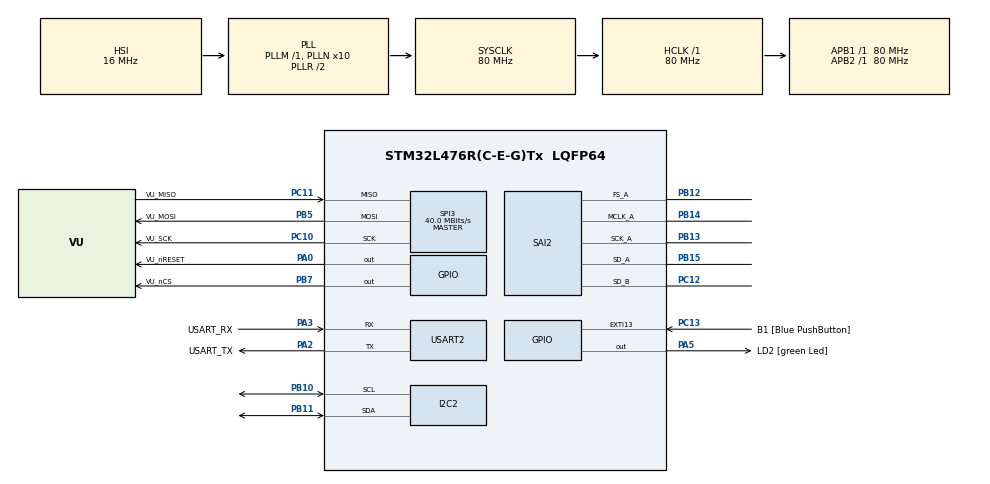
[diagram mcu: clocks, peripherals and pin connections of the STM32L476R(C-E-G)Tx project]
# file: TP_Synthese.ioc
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Dma.Request0=SAI2_A
Dma.Request1=SAI2_B
Dma.SAI2_A.0.Direction=DMA_MEMORY_TO_PERIPH
Dma.SAI2_A.0.Instance=DMA1_Channel6
Dma.SAI2_A.0.MemDataAlignment=DMA_MDATAALIGN_WORD
Dma.SAI2_A.0.MemInc=DMA_MINC_ENABLE
Dma.SAI2_A.0.Mode=DMA_CIRCULAR
Dma.SAI2_A.0.PeriphDataAlignment=DMA_PDATAALIGN_WORD
Dma.SAI2_A.0.PeriphInc=DMA_PINC_DISABLE
Dma.SAI2_A.0.Priority=DMA_PRIORITY_LOW
Dma.SAI2_B.1.Direction=DMA_PERIPH_TO_MEMORY
Dma.SAI2_B.1.Instance=DMA1_Channel7
Dma.SAI2_B.1.MemDataAlignment=DMA_MDATAALIGN_WORD
Dma.SAI2_B.1.MemInc=DMA_MINC_ENABLE
Dma.SAI2_B.1.Mode=DMA_CIRCULAR
Dma.SAI2_B.1.PeriphDataAlignment=DMA_PDATAALIGN_WORD
Dma.SAI2_B.1.PeriphInc=DMA_PINC_DISABLE
Dma.SAI2_B.1.Priority=DMA_PRIORITY_LOW
FREERTOS.Tasks01=defaultTask,0,128,StartDefaultTask,Default,NULL,Dynamic,NULL,NULL
FREERTOS.configTOTAL_HEAP_SIZE=20000
FREERTOS.configUSE_NEWLIB_REENTRANT=1
I2C2.Timing=0x10D19CE4
Mcu.Family=STM32L4
Mcu.Name=STM32L476R(C-E-G)Tx
Mcu.Package=LQFP64
NVIC.DMA1_Channel6_IRQn=true\:5\:0\:false\:false\:true\:true\:false\:true\:true
NVIC.DMA1_Channel7_IRQn=true\:5\:0\:false\:false\:true\:true\:false\:true\:true
NVIC.PriorityGroup=NVIC_PRIORITYGROUP_4
NVIC.SAI2_IRQn=true\:5\:0\:false\:false\:true\:true\:true\:true\:true
NVIC.TIM6_DAC_IRQn=true\:15\:0\:false\:false\:true\:false\:false\:true\:true
NVIC.TimeBase=TIM6_DAC_IRQn
NVIC.TimeBaseIP=TIM6
NVIC.USART2_IRQn=true\:5\:0\:false\:false\:true\:true\:true\:true\:true
PA0.GPIO_Label=VU_nRESET
PA0.PinState=GPIO_PIN_SET
PA0.Signal=GPIO_Output
PA13\ (JTMS-SWDIO).GPIO_Label=TMS
PA13\ (JTMS-SWDIO).Signal=SYS_JTMS-SWDIO
PA14\ (JTCK-SWCLK).GPIO_Label=TCK
PA14\ (JTCK-SWCLK).Signal=SYS_JTCK-SWCLK
PA2.GPIO_Label=USART_TX
PA2.GPIO_Mode=GPIO_MODE_AF_PP
PA2.GPIO_PuPd=GPIO_NOPULL
PA2.GPIO_Speed=GPIO_SPEED_FREQ_VERY_HIGH
PA2.Mode=Asynchronous
PA2.Signal=USART2_TX
PA3.GPIO_Label=USART_RX
PA3.GPIO_Mode=GPIO_MODE_AF_PP
PA3.GPIO_PuPd=GPIO_NOPULL
PA3.GPIO_Speed=GPIO_SPEED_FREQ_VERY_HIGH
PA3.Mode=Asynchronous
PA3.Signal=USART2_RX
PA5.GPIO_Label=LD2 [green Led]
PA5.GPIO_ModeDefaultOutputPP=GPIO_MODE_OUTPUT_PP
PA5.GPIO_PuPd=GPIO_NOPULL
PA5.GPIO_Speed=GPIO_SPEED_FREQ_LOW
PA5.Signal=GPIO_Output
PB10.Mode=I2C
PB10.Signal=I2C2_SCL
PB11.Mode=I2C
PB11.Signal=I2C2_SDA
PB12.Mode=SAI_A_MasterWithClock
PB12.Signal=SAI2_FS_A
PB13.Mode=SAI_A_MasterWithClock
PB13.Signal=SAI2_SCK_A
PB14.Mode=SAI_A_MasterWithClock
PB14.Signal=SAI2_MCLK_A
PB15.Mode=SAI_A_MasterWithClock
PB15.Signal=SAI2_SD_A
PB3\ (JTDO-TRACESWO).GPIO_Label=SWO
PB3\ (JTDO-TRACESWO).Signal=SYS_JTDO-SWO
PB5.GPIO_Label=VU_MOSI
PB5.Mode=Full_Duplex_Master
PB5.Signal=SPI3_MOSI
PB7.GPIO_Label=VU_nCS
PB7.PinState=GPIO_PIN_SET
PB7.Signal=GPIO_Output
PC10.GPIO_Label=VU_SCK
PC10.Mode=Full_Duplex_Master
PC10.Signal=SPI3_SCK
PC11.GPIO_Label=VU_MISO
PC11.Mode=Full_Duplex_Master
PC11.Signal=SPI3_MISO
PC12.Mode=SAI_B_SyncSlave
PC12.Signal=SAI2_SD_B
PC13.GPIO_Label=B1 [Blue PushButton]
PC13.GPIO_ModeDefaultEXTI=GPIO_MODE_IT_FALLING
PC13.GPIO_PuPd=GPIO_NOPULL
PC13.Signal=GPXTI13
PC14-OSC32_IN\ (PC14).Mode=LSE-External-Oscillator
PC14-OSC32_IN\ (PC14).Signal=RCC_OSC32_IN
PC15-OSC32_OUT\ (PC15).Mode=LSE-External-Oscillator
PC15-OSC32_OUT\ (PC15).Signal=RCC_OSC32_OUT
PH0-OSC_IN\ (PH0).Signal=RCC_OSC_IN
PH1-OSC_OUT\ (PH1).Signal=RCC_OSC_OUT
ProjectManager.HeapSize=0x200
ProjectManager.StackSize=0x400
ProjectManager.TargetToolchain=STM32CubeIDE
RCC.ADCFreq_Value=104000000
RCC.AHBFreq_Value=80000000
RCC.APB1Freq_Value=80000000
RCC.APB1TimFreq_Value=80000000
RCC.APB2Freq_Value=80000000
RCC.APB2TimFreq_Value=80000000
RCC.CortexFreq_Value=80000000
RCC.HCLKFreq_Value=80000000
RCC.HSE_VALUE=8000000
RCC.HSI_VALUE=16000000
RCC.MSI_VALUE=4000000
RCC.PLLN=10
RCC.PLLSAI1N=13
RCC.PLLSAI1P=RCC_PLLP_DIV17
RCC.PLLSourceVirtual=RCC_PLLSOURCE_HSI
RCC.PREFETCH_ENABLE=1
RCC.SYSCLKFreq_VALUE=80000000
RCC.SYSCLKSource=RCC_SYSCLKSOURCE_PLLCLK
RCC.USBFreq_Value=104000000
RCC.VCOOutputFreq_Value=160000000
SAI2.AudioFrequency-SAI_A_MasterWithClock=SAI_AUDIO_FREQUENCY_48K
SAI2.ErrorAudioFreq-SAI_A_MasterWithClock=-0.42 %
SAI2.InitProtocol-SAI_A_MasterWithClock=Enable
SAI2.InitProtocol-SAI_B_SyncSlave=Enable
SAI2.Instance-SAI_A_MasterWithClock=SAI$Index_Block_A
SAI2.Instance-SAI_B_SyncSlave=SAI$Index_Block_B
SAI2.MClockEnable-SAI_A_MasterWithClock=SAI_MASTERCLOCK_ENABLE
SAI2.RealAudioFreq-SAI_A_MasterWithClock=47.794 KHz
SAI2.VirtualMode-SAI_A_MasterWithClock=VM_MASTER
SAI2.VirtualMode-SAI_B_SyncSlave=VM_SLAVE
SAI2.VirtualProtocol-SAI_A_BASIC=VM_BASIC_PROTOCOL
SAI2.VirtualProtocol-SAI_B_BASIC=VM_BASIC_PROTOCOL
SPI3.CalculateBaudRate=40.0 MBits/s
SPI3.DataSize=SPI_DATASIZE_8BIT
SPI3.Direction=SPI_DIRECTION_2LINES
SPI3.Mode=SPI_MODE_MASTER
SPI3.VirtualType=VM_MASTER
USART2.VirtualMode-Asynchronous=VM_ASYNC
VP_FREERTOS_VS_CMSIS_V1.Mode=CMSIS_V1
VP_SAI2_VP_$IpInstance_SAIA_SAI_BASIC.Mode=SAI_A_BASIC
VP_SAI2_VP_$IpInstance_SAIB_SAI_BASIC.Mode=SAI_B_BASIC
VP_SYS_VS_tim6.Mode=TIM6
board=NUCLEO-L476RG

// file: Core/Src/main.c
/* USER CODE BEGIN Header */
/**
  ******************************************************************************
  * @file           : main.c
  * @brief          : Main program body
  ******************************************************************************
  * @attention
  *
  * Copyright (c) 2025 STMicroelectronics.
  * All rights reserved.
  *
  * This software is licensed under terms that can be found in the LICENSE file
  * in the root directory of this software component.
  * If no LICENSE file comes with this software, it is provided AS-IS.
  *
  ******************************************************************************
  */
/* USER CODE END Header */
#include "main.h"
#include "cmsis_os.h"
#include "dma.h"
#include "i2c.h"
#include "sai.h"
#include "spi.h"
#include "usart.h"
#include "gpio.h"

/* USER CODE BEGIN Includes */
#include <stdio.h>
#include <string.h>

#include "shell.h"
#include "drv_uart.h"
#include "leds.h"
#include "sgtl5000.h"
/* USER CODE END Includes */

/* USER CODE BEGIN PD */
#define AUDIO_BLOCK_SIZE 24
#define AUDIO_BUFFER_SIZE (AUDIO_BLOCK_SIZE * 4)

// Defines for triangular wave generation
#define SAMPLE_RATE_HZ 48000
#define TRIANGLE_TEST_FREQ_HZ 440
#define TRIANGLE_MAX_AMPLITUDE 15000
#define TRIANGLE_STEP ((2 * TRIANGLE_MAX_AMPLITUDE) / (SAMPLE_RATE_HZ / TRIANGLE_TEST_FREQ_HZ))

/* USER CODE END PD */

/* USER CODE BEGIN PV */
SemaphoreHandle_t uartRxSemaphore;
uint8_t rxCharBuffer;
h_sgtl5000_t sgtl5000_handle;

uint16_t audio_tx_buffer[AUDIO_BUFFER_SIZE];
uint16_t audio_rx_buffer[AUDIO_BUFFER_SIZE];

// Global variables for triangle wave generation
int16_t triangle_current_value = 0;
int8_t triangle_direction = 1; // 1 for rising, -1 for falling
/* USER CODE END PV */

void SystemClock_Config(void);
void PeriphCommonClock_Config(void);
void MX_FREERTOS_Init(void);

/* USER CODE BEGIN 0 */
int __io_putchar(int ch)
{
	HAL_UART_Transmit(&huart2, (uint8_t*)&ch, 1, HAL_MAX_DELAY);

	return ch;
}

void ShellTask(void * unused)
{
	h_shell_t h_shell;
	drv_shell_t drv_shell;

	drv_shell.transmit = drv_uart_transmit;
	drv_shell.receive = drv_uart_receive;

	h_shell.drv = drv_shell;

	shell_init(&h_shell);

	// Init LED Driver and add command
	LED_Driver_Init(&led_driver);
	shell_add(&h_shell, 'l', shell_control_led, "Control LEDs: l <port> <pin> <state>");
	shell_add(&h_shell, 'k', shell_chenillard, "Chenillard effect");
	shell_add(&h_shell, 'b', shell_blink_all, "Blink all LEDs");

	shell_run(&h_shell);
}
/* USER CODE END 0 */

int main(void)
{

  /* MCU Configuration--------------------------------------------------------*/

  /* Reset of all peripherals, Initializes the Flash interface and the Systick. */
  HAL_Init();

  /* Configure the system clock */
  SystemClock_Config();

  /* Configure the peripherals common clocks */
  PeriphCommonClock_Config();

  /* Initialize all configured peripherals */
  MX_GPIO_Init();
  MX_DMA_Init();
  MX_USART2_UART_Init();
  MX_SPI3_Init();
  MX_I2C2_Init();
  MX_SAI2_Init();
  /* USER CODE BEGIN 2 */
  __HAL_SAI_ENABLE(&hsai_BlockA2);

  sgtl5000_handle.hi2c = &hi2c2;
  sgtl5000_handle.i2c_address = SGTL5000_I2C_ADDR_WRITE;
  sgtl5000_init(&sgtl5000_handle);

  // Start SAI DMA transfers
  HAL_SAI_Transmit_DMA(&hsai_BlockA2, (uint8_t*)audio_tx_buffer, AUDIO_BUFFER_SIZE);
  HAL_SAI_Receive_DMA(&hsai_BlockB2, (uint8_t*)audio_rx_buffer, AUDIO_BUFFER_SIZE);

  uartRxSemaphore = xSemaphoreCreateBinary();
  HAL_UART_Receive_IT(&huart2, &rxCharBuffer, 1);

  if (xTaskCreate(ShellTask, "Shell", 1024, NULL, 1, NULL) != pdPASS)
  {
	  printf("Task Creation Failed\r\n");
	  Error_Handler();
  }
  /* USER CODE END 2 */

  /* Call init function for freertos objects (in cmsis_os2.c) */
  MX_FREERTOS_Init();

  /* Start scheduler */
  osKernelStart();

  /* We should never get here as control is now taken by the scheduler */

  /* Infinite loop */
  while (1)
  {

  }
}

void SystemClock_Config(void)
{
  RCC_OscInitTypeDef RCC_OscInitStruct = {0};
  RCC_ClkInitTypeDef RCC_ClkInitStruct = {0};

  /** Configure the main internal regulator output voltage
  */
  if (HAL_PWREx_ControlVoltageScaling(PWR_REGULATOR_VOLTAGE_SCALE1) != HAL_OK)
  {
    Error_Handler();
  }

  /** Initializes the RCC Oscillators according to the specified parameters
  * in the RCC_OscInitTypeDef structure.
  */
  RCC_OscInitStruct.OscillatorType = RCC_OSCILLATORTYPE_HSI;
  RCC_OscInitStruct.HSIState = RCC_HSI_ON;
  RCC_OscInitStruct.HSICalibrationValue = RCC_HSICALIBRATION_DEFAULT;
  RCC_OscInitStruct.PLL.PLLState = RCC_PLL_ON;
  RCC_OscInitStruct.PLL.PLLSource = RCC_PLLSOURCE_HSI;
  RCC_OscInitStruct.PLL.PLLM = 1;
  RCC_OscInitStruct.PLL.PLLN = 10;
  RCC_OscInitStruct.PLL.PLLP = RCC_PLLP_DIV7;
  RCC_OscInitStruct.PLL.PLLQ = RCC_PLLQ_DIV2;
  RCC_OscInitStruct.PLL.PLLR = RCC_PLLR_DIV2;
  if (HAL_RCC_OscConfig(&RCC_OscInitStruct) != HAL_OK)
  {
    Error_Handler();
  }

  /** Initializes the CPU, AHB and APB buses clocks
  */
  RCC_ClkInitStruct.ClockType = RCC_CLOCKTYPE_HCLK|RCC_CLOCKTYPE_SYSCLK
                              |RCC_CLOCKTYPE_PCLK1|RCC_CLOCKTYPE_PCLK2;
  RCC_ClkInitStruct.SYSCLKSource = RCC_SYSCLKSOURCE_PLLCLK;
  RCC_ClkInitStruct.AHBCLKDivider = RCC_SYSCLK_DIV1;
  RCC_ClkInitStruct.APB1CLKDivider = RCC_HCLK_DIV1;
  RCC_ClkInitStruct.APB2CLKDivider = RCC_HCLK_DIV1;

  if (HAL_RCC_ClockConfig(&RCC_ClkInitStruct, FLASH_LATENCY_4) != HAL_OK)
  {
    Error_Handler();
  }
}

void PeriphCommonClock_Config(void)
{
  RCC_PeriphCLKInitTypeDef PeriphClkInit = {0};

  /** Initializes the peripherals clock
  */
  PeriphClkInit.PeriphClockSelection = RCC_PERIPHCLK_SAI2;
  PeriphClkInit.Sai2ClockSelection = RCC_SAI2CLKSOURCE_PLLSAI1;
  PeriphClkInit.PLLSAI1.PLLSAI1Source = RCC_PLLSOURCE_HSI;
  PeriphClkInit.PLLSAI1.PLLSAI1M = 1;
  PeriphClkInit.PLLSAI1.PLLSAI1N = 13;
  PeriphClkInit.PLLSAI1.PLLSAI1P = RCC_PLLP_DIV17;
  PeriphClkInit.PLLSAI1.PLLSAI1Q = RCC_PLLQ_DIV2;
  PeriphClkInit.PLLSAI1.PLLSAI1R = RCC_PLLR_DIV2;
  PeriphClkInit.PLLSAI1.PLLSAI1ClockOut = RCC_PLLSAI1_SAI1CLK;
  if (HAL_RCCEx_PeriphCLKConfig(&PeriphClkInit) != HAL_OK)
  {
    Error_Handler();
  }
}

/* USER CODE BEGIN 4 */
void HAL_UART_RxCpltCallback(UART_HandleTypeDef *huart)
{
  if (huart->Instance == USART2)
  {
    BaseType_t xHigherPriorityTaskWoken = pdFALSE;

    xSemaphoreGiveFromISR(uartRxSemaphore, &xHigherPriorityTaskWoken);

    HAL_UART_Receive_IT(&huart2, &rxCharBuffer, 1);

    portYIELD_FROM_ISR(xHigherPriorityTaskWoken);
  }
}

// SAI Transmit Half-Complete Callback
void HAL_SAI_TxHalfCpltCallback(SAI_HandleTypeDef *hsai)
{
  if (hsai->Instance == SAI2_Block_A)
  {
    // Triangle wave generation disabled for bypass functionality.
    // Process the first half of the TX buffer (0 to AUDIO_BLOCK_SIZE * 2 - 1)
    // Each frame is 2 samples (left and right)
    /*for (int i = 0; i < AUDIO_BLOCK_SIZE; i++) {
        // Generate triangle wave for current sample
        triangle_current_value += triangle_direction * TRIANGLE_STEP;

        if (triangle_current_value >= TRIANGLE_MAX_AMPLITUDE) {
            triangle_current_value = TRIANGLE_MAX_AMPLITUDE; // Cap at max
            triangle_direction = -1; // Change direction to falling
        } else if (triangle_current_value <= -TRIANGLE_MAX_AMPLITUDE) {
            triangle_current_value = -TRIANGLE_MAX_AMPLITUDE; // Cap at min
            triangle_direction = 1; // Change direction to rising
        }
        uint16_t output_sample = (uint16_t)triangle_current_value;

        // Fill both left and right channels with the same sample
        audio_tx_buffer[(2 * i)] = output_sample;     // Left Channel
        audio_tx_buffer[(2 * i) + 1] = output_sample; // Right Channel
    }*/
  }
}

// SAI Transmit Complete Callback
void HAL_SAI_TxCpltCallback(SAI_HandleTypeDef *hsai)
{
  if (hsai->Instance == SAI2_Block_A)
  {
    // Triangle wave generation disabled for bypass functionality.
    // Process the second half of the TX buffer (AUDIO_BLOCK_SIZE * 2 to AUDIO_BUFFER_SIZE - 1)
    /*for (int i = 0; i < AUDIO_BLOCK_SIZE; i++) {
        // Generate triangle wave for current sample
        triangle_current_value += triangle_direction * TRIANGLE_STEP;

        if (triangle_current_value >= TRIANGLE_MAX_AMPLITUDE) {
            triangle_current_value = TRIANGLE_MAX_AMPLITUDE; // Cap at max
            triangle_direction = -1; // Change direction to falling
        } else if (triangle_current_value <= -TRIANGLE_MAX_AMPLITUDE) {
            triangle_current_value = -TRIANGLE_MAX_AMPLITUDE; // Cap at min
            triangle_direction = 1; // Change direction to rising
        }

        // Convert signed 16-bit sample to unsigned 16-bit for SAI (0 to 65535 range)
        // Assuming 16-bit audio, shift by +32768 to center around 0x8000
        uint16_t output_sample = (uint16_t)triangle_current_value;

        // Fill both left and right channels with the same sample
        audio_tx_buffer[AUDIO_BLOCK_SIZE * 2 + (2 * i)] = output_sample;     // Left Channel
        audio_tx_buffer[AUDIO_BLOCK_SIZE * 2 + (2 * i) + 1] = output_sample; // Right Channel
    }*/
  }
}

// SAI Receive Half-Complete Callback
void HAL_SAI_RxHalfCpltCallback(SAI_HandleTypeDef *hsai)
{
  if (hsai->Instance == SAI2_Block_B)
  {
    // Process the first half of the RX buffer
    // Copy first half of RX buffer to first half of TX buffer
    for (int i = 0; i < AUDIO_BLOCK_SIZE * 2; i++) {
        audio_tx_buffer[i] = audio_rx_buffer[i];
    }
  }
}

// SAI Receive Complete Callback
void HAL_SAI_RxCpltCallback(SAI_HandleTypeDef *hsai)
{
  if (hsai->Instance == SAI2_Block_B)
  {
    // Process the second half of the RX buffer
    // Copy second half of RX buffer to second half of TX buffer
    for (int i = 0; i < AUDIO_BLOCK_SIZE * 2; i++) {
        audio_tx_buffer[AUDIO_BLOCK_SIZE * 2 + i] = audio_rx_buffer[AUDIO_BLOCK_SIZE * 2 + i];
    }
  }
}
/* USER CODE END 4 */

void HAL_TIM_PeriodElapsedCallback(TIM_HandleTypeDef *htim)
{
  if (htim->Instance == TIM6)
  {
    HAL_IncTick();
  }
}

void Error_Handler(void)
{
  __disable_irq();
  while (1)
  {
  }
}
